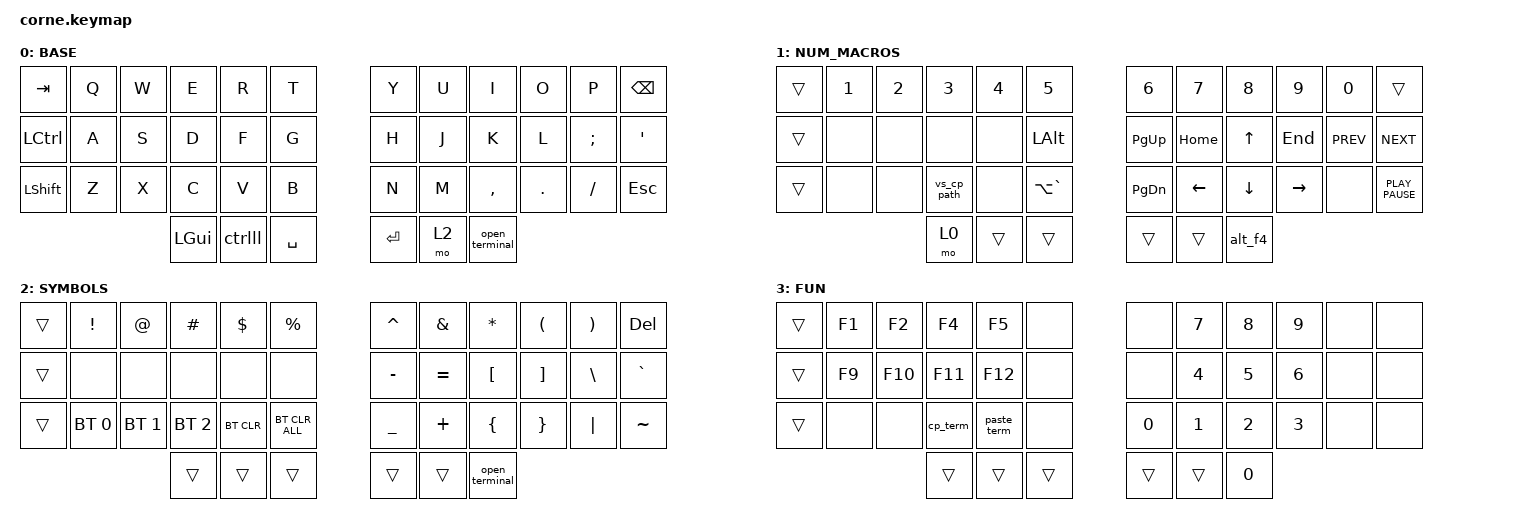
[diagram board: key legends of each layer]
#include <behaviors.dtsi>
#include <dt-bindings/zmk/bt.h>
#include <dt-bindings/zmk/keys.h>

#define BASE 0
#define NUM_MACROS  1
#define SYMBOLS  2
#define FUN  3

/ {
    combos {
        compatible = "zmk,combos";

        ctrl_alt_del {
            bindings = <&alt_del_macro>;
            key-positions = <36 41>;
        };

        altt {
            bindings = <&kp LEFT_ALT>;
            key-positions = <37 0>;
        };
    };

    macros {
        alt_f4: alt_f4 {
            compatible = "zmk,behavior-macro";
            #binding-cells = <0>;
            bindings = <&kt LEFT_ALT &kp F4 &kt LEFT_ALT>;
            label = "ALT_F4";
        };

        alt_del_macro: alt_del_macro {
            compatible = "zmk,behavior-macro";
            #binding-cells = <0>;
            bindings = <&kt LCTRL &kt LEFT_ALT &kp DEL &kt LEFT_ALT &kt LCTRL>;
            label = "ALT_DEL_MACRO";
        };

        open_terminal: open_terminal {
            compatible = "zmk,behavior-macro";
            #binding-cells = <0>;
            bindings = <&kt LCTRL &kt LEFT_ALT &kp T &kt LEFT_ALT &kt LCTRL>;
            label = "OPEN_TERMINAL";
        };

        vs_cp_path: copy_relative_path_vscode {
            compatible = "zmk,behavior-macro";
            #binding-cells = <0>;
            bindings = <&kt LCTRL &kt LEFT_SHIFT &kp Y &kp O &kt LEFT_SHIFT &kt LCTRL>;
            label = "COPY_RELATIVE_PATH_VSCODE";
        };

        cp_term: cp_term {
            compatible = "zmk,behavior-macro";
            #binding-cells = <0>;
            bindings = <&kt LCTRL &kt LEFT_SHIFT &kp C &kt LEFT_SHIFT &kt LCTRL>;
            label = "CP_TERM";
        };

        paste_term: paste_term {
            compatible = "zmk,behavior-macro";
            #binding-cells = <0>;
            bindings = <&kt LCTRL &kt LEFT_SHIFT &kp V &kt LEFT_SHIFT &kt LCTRL>;
            label = "PASTE_TERM";
        };
    };

    behaviors {
        ctrlll: ctrlll {
            compatible = "zmk,behavior-tap-dance";
            label = "CTRLLL";
            #binding-cells = <0>;
            bindings = <&mo 1>, <&kp LCTRL>;

            tapping-term-ms = <600>;
        };
    };

    keymap {
        compatible = "zmk,keymap";

        /* ================= BASE ================= */

        base_layer {
            label = "BASE";
            bindings = <
&kp TAB     &kp Q  &kp W  &kp E     &kp R    &kp T        &kp Y      &kp U  &kp I           &kp O       &kp P      &kp BACKSPACE
&kp LCTRL   &kp A  &kp S  &kp D     &kp F    &kp G        &kp H      &kp J  &kp K           &kp L       &kp SEMI   &kp SINGLE_QUOTE
&kp LSHIFT  &kp Z  &kp X  &kp C     &kp V    &kp B        &kp N      &kp M  &kp COMMA       &kp PERIOD  &kp SLASH  &kp ESC
                          &kp LGUI  &ctrlll  &kp SPACE    &kp ENTER  &mo 2  &open_terminal
            >;
        };

        /* ================= num_macros ================= */

        num_macros {
            label = "NUM_MACROS";
            bindings = <
&trans  &kp NUMBER_1  &kp NUMBER_2  &kp NUMBER_3  &kp NUMBER_4  &kp N5           &kp NUMBER_6   &kp N7    &kp N8    &kp N9     &kp NUMBER_0  &trans
&trans  &none         &none         &none         &none         &kp LEFT_ALT     &kp PAGE_UP    &kp HOME  &kp UP    &kp END    &kp K_PREV    &kp K_NEXT
&trans  &none         &none         &vs_cp_path   &none         &kp LA(GRAVE)    &kp PAGE_DOWN  &kp LEFT  &kp DOWN  &kp RIGHT  &none         &kp K_PLAY_PAUSE
                                    &mo 0         &trans        &trans           &trans         &trans    &alt_f4
            >;
        };

        /* ================= SYMBOLS ================= */

        symm {
            label = "SYMBOLS";
            bindings = <
&trans  &kp EXCLAMATION  &kp AT        &kp HASH      &kp DOLLAR  &kp PERCENT       &kp CARET       &kp AMPERSAND  &kp ASTERISK      &kp LEFT_PARENTHESIS  &kp RIGHT_PARENTHESIS  &kp DEL
&trans  &none            &none         &none         &none       &none             &kp MINUS       &kp EQUAL      &kp LEFT_BRACKET  &kp RIGHT_BRACKET     &kp BACKSLASH          &kp GRAVE
&trans  &bt BT_SEL 0     &bt BT_SEL 1  &bt BT_SEL 2  &bt BT_CLR  &bt BT_CLR_ALL    &kp UNDERSCORE  &kp PLUS       &kp LEFT_BRACE    &kp RIGHT_BRACE       &kp PIPE               &kp TILDE
                                       &trans        &trans      &trans            &trans          &trans         &open_terminal
            >;
        };

        /* ================= FUN ================= */

        fun_num {
            label = "FUN";
            bindings = <
&trans  &kp F1  &kp F2   &kp F4    &kp F5       &none     &none         &kp NUMBER_7  &kp NUMBER_8  &kp NUMBER_9  &none  &none
&trans  &kp F9  &kp F10  &kp F11   &kp F12      &none     &none         &kp NUMBER_4  &kp NUMBER_5  &kp NUMBER_6  &none  &none
&trans  &none   &none    &cp_term  &paste_term  &none     &kp NUMBER_0  &kp NUMBER_1  &kp NUMBER_2  &kp NUMBER_3  &none  &none
                         &trans    &trans       &trans    &trans        &trans        &kp NUMBER_0
            >;
        };
    };

    conditional_layers {
        compatible = "zmk,conditional-layers";

        L3 {
            if-layers = <1 2>;
            then-layer = <3>;
        };
    };
};
